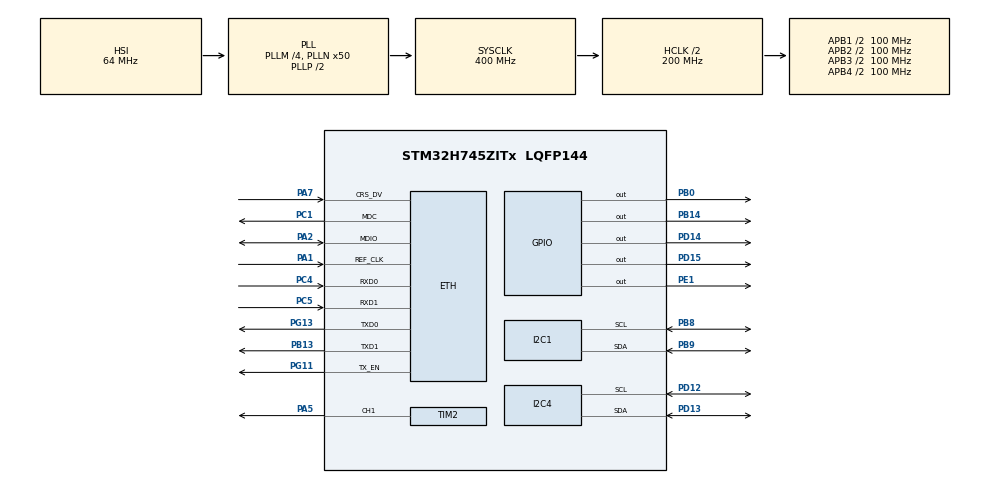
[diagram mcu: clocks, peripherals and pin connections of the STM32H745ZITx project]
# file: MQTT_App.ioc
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CORTEX_M7.AccessPermission_S-Cortex_Memory_Protection_Unit_Region1_Settings_S=MPU_REGION_FULL_ACCESS
CORTEX_M7.AccessPermission_S-Cortex_Memory_Protection_Unit_Region2_Settings_S=MPU_REGION_FULL_ACCESS
CORTEX_M7.BaseAddress_S-Cortex_Memory_Protection_Unit_Region1_Settings_S=0x30020000
CORTEX_M7.BaseAddress_S-Cortex_Memory_Protection_Unit_Region2_Settings_S=0x30040000
CORTEX_M7.CPU_DCache=Enabled
CORTEX_M7.CPU_ICache=Enabled
CORTEX_M7.DisableExec_S-Cortex_Memory_Protection_Unit_Region1_Settings_S=MPU_INSTRUCTION_ACCESS_DISABLE
CORTEX_M7.DisableExec_S-Cortex_Memory_Protection_Unit_Region2_Settings_S=MPU_INSTRUCTION_ACCESS_DISABLE
CORTEX_M7.Enable_S-Cortex_Memory_Protection_Unit_Region1_Settings_S=MPU_REGION_ENABLE
CORTEX_M7.Enable_S-Cortex_Memory_Protection_Unit_Region2_Settings_S=MPU_REGION_ENABLE
CORTEX_M7.IsBufferable_S-Cortex_Memory_Protection_Unit_Region2_Settings_S=MPU_ACCESS_BUFFERABLE
CORTEX_M7.IsShareable_S-Cortex_Memory_Protection_Unit_Region2_Settings_S=MPU_ACCESS_SHAREABLE
CORTEX_M7.Size_S-Cortex_Memory_Protection_Unit_Region1_Settings_S=MPU_REGION_SIZE_128KB
CORTEX_M7.Size_S-Cortex_Memory_Protection_Unit_Region2_Settings_S=MPU_REGION_SIZE_512B
CORTEX_M7.TypeExtField_S-Cortex_Memory_Protection_Unit_Region1_Settings_S=MPU_TEX_LEVEL1
CORTEX_M7.default_mode_Activation=1
CortexM4.IPs=FATFS_M4\:I,FREERTOS_M4\:I,IWDG2\:I,RCC,WWDG2\:I,DMA,BDMA,MDMA,NVIC2\:I,USART3,DEBUG,PDM2PCM_M4\:I,PWR,RESMGR_UTILITY,SYS_M4\:I,USB_DEVICE_M4\:I,USB_HOST_M4\:I,CORTEX_M4\:I,GPIO,OPENAMP_M4\:I,VREFBUF,NUCLEO-H745ZI-Q\:I
CortexM7.IPs=FATFS_M7\:I,FREERTOS_M7\:I,IWDG1\:I,RCC\:I,WWDG1\:I,DMA\:I,BDMA\:I,MDMA\:I,NVIC1\:I,SYS\:I,USART3\:I,USB_OTG_FS\:I,ETH\:I,CORTEX_M7\:I,DEBUG\:I,PDM2PCM_M7\:I,PWR\:I,RESMGR_UTILITY\:I,USB_DEVICE_M7\:I,USB_HOST_M7\:I,GPIO\:I,OPENAMP_M7\:I,VREFBUF\:I,MEMORYMAP\:I,LWIP\:I,I2C1\:I,I2C4\:I,TIM2\:I
CortexM7.Pins=PB0,PB14,PD14,PD15,PE1
ETH.MediaInterface=HAL_ETH_RMII_MODE
ETH.RxBufferAddress=0x30040200
ETH.RxDescAddress=0x30040000
ETH.TxDescAddress=0x30040100
I2C1.Timing=0x10C0ECFF
I2C4.Timing=0x10C0ECFF
LWIP.BSP.number=1
LWIP.GATEWAY_ADDRESS=192.168.001.001
LWIP.IP_ADDRESS=192.168.001.010
LWIP.LWIP_DHCP=0
LWIP.LWIP_RAM_HEAP_POINTER=0x30020000
LWIP.MEMP_NUM_TCP_SEG=17
LWIP.MEM_SIZE=10240
LWIP.NETMASK_ADDRESS=255.255.255.000
LWIP.PBUF_POOL_BUFSIZE=1524
LWIP.TCP_MSS=1460
LWIP.TCP_SND_BUF=5840
LWIP.TCP_WND=5840
LWIP.Version=v2.1.2_Cube
LWIP0.BSP.STBoard=false
LWIP0.BSP.api=BSP_COMPONENT_DRIVER
LWIP0.BSP.component=LAN8742
LWIP0.BSP.instance=LAN8742
LWIP0.BSP.name=Driver_PHY
LWIP0.BSP.semaphore=S_LAN8742
LWIP0.BSP.solution=LAN8742
Mcu.Family=STM32H7
Mcu.Name=STM32H745ZITx
Mcu.Package=LQFP144
NVIC1.PriorityGroup=NVIC_PRIORITYGROUP_4
NVIC2.PriorityGroup=NVIC_PRIORITYGROUP_4
PA1.GPIO_Speed=GPIO_SPEED_FREQ_VERY_HIGH
PA1.Mode=RMII
PA1.PinAttribute=CortexM7
PA1.Signal=ETH_REF_CLK
PA2.GPIO_Speed=GPIO_SPEED_FREQ_VERY_HIGH
PA2.Mode=RMII
PA2.PinAttribute=CortexM7
PA2.Signal=ETH_MDIO
PA5.PinAttribute=CortexM7
PA5.Signal=S_TIM2_CH1_ETR
PA7.GPIO_Speed=GPIO_SPEED_FREQ_VERY_HIGH
PA7.Mode=RMII
PA7.PinAttribute=CortexM7
PA7.Signal=ETH_CRS_DV
PB0.PinAttribute=CortexM7
PB0.Signal=GPIO_Output
PB13.GPIO_Speed=GPIO_SPEED_FREQ_VERY_HIGH
PB13.Mode=RMII
PB13.PinAttribute=CortexM7
PB13.Signal=ETH_TXD1
PB14.PinAttribute=CortexM7
PB14.PinState=GPIO_PIN_RESET
PB14.Signal=GPIO_Output
PB8.Mode=I2C
PB8.PinAttribute=CortexM7
PB8.Signal=I2C1_SCL
PB9.Mode=I2C
PB9.PinAttribute=CortexM7
PB9.Signal=I2C1_SDA
PC1.GPIO_Speed=GPIO_SPEED_FREQ_VERY_HIGH
PC1.Mode=RMII
PC1.PinAttribute=CortexM7
PC1.Signal=ETH_MDC
PC4.GPIO_Speed=GPIO_SPEED_FREQ_VERY_HIGH
PC4.Mode=RMII
PC4.PinAttribute=CortexM7
PC4.Signal=ETH_RXD0
PC5.GPIO_Speed=GPIO_SPEED_FREQ_VERY_HIGH
PC5.Mode=RMII
PC5.PinAttribute=CortexM7
PC5.Signal=ETH_RXD1
PD12.Mode=I2C
PD12.PinAttribute=CortexM7
PD12.Signal=I2C4_SCL
PD13.Mode=I2C
PD13.PinAttribute=CortexM7
PD13.Signal=I2C4_SDA
PD14.PinAttribute=CortexM7
PD14.PinState=GPIO_PIN_SET
PD14.Signal=GPIO_Output
PD15.PinAttribute=CortexM7
PD15.Signal=GPIO_Output
PE1.PinAttribute=CortexM7
PE1.Signal=GPIO_Output
PG11.GPIO_Speed=GPIO_SPEED_FREQ_VERY_HIGH
PG11.Mode=RMII
PG11.PinAttribute=CortexM7
PG11.Signal=ETH_TX_EN
PG13.GPIO_Speed=GPIO_SPEED_FREQ_VERY_HIGH
PG13.Mode=RMII
PG13.PinAttribute=CortexM7
PG13.Signal=ETH_TXD0
PH0-OSC_IN\ (PH0).Mode=HSE-External-Clock-Source
PH0-OSC_IN\ (PH0).PinAttribute=Free
PH0-OSC_IN\ (PH0).Signal=RCC_OSC_IN
ProjectManager.HeapSize=M4-0x200,M7-0x200
ProjectManager.StackSize=M4-0x400,M7-0x400
ProjectManager.TargetToolchain=STM32CubeIDE
RCC.ADCFreq_Value=129000000
RCC.APB1Freq_Value=100000000
RCC.APB2Freq_Value=100000000
RCC.APB3Freq_Value=100000000
RCC.APB4Freq_Value=100000000
RCC.CortexFreq_Value=400000000
RCC.D1PPRE=RCC_APB3_DIV2
RCC.D2PPRE1=RCC_APB1_DIV2
RCC.D2PPRE2=RCC_APB2_DIV2
RCC.D3PPRE=RCC_APB4_DIV2
RCC.DIVM1=4
RCC.DIVM3=22
RCC.DIVN1=50
RCC.DIVN3=169
RCC.DIVQ3=4
RCC.HCLKFreq_Value=200000000
RCC.HPRE=RCC_HCLK_DIV2
RCC.HSE_VALUE=8000000
RCC.PLL2FRACN=0
RCC.PLL3FRACN=0
RCC.PLLFRACN=0
RCC.SYSCLKFreq_VALUE=400000000
RCC.SYSCLKSource=RCC_SYSCLKSOURCE_PLLCLK
RCC.SupplySource=PWR_DIRECT_SMPS_SUPPLY
RCC.USBCLockSelection=RCC_USBCLKSOURCE_PLL3
RCC.USBFreq_Value=122909090.9090909
SH.S_TIM2_CH1_ETR.0=TIM2_CH1,PWM Generation1 CH1
TIM2.Channel-PWM\ Generation1\ CH1=TIM_CHANNEL_1
TIM2.Period=999
TIM2.Prescaler=199
VP_LWIP_VS_Enabled.Mode=Enabled
VP_MEMORYMAP_VS_MEMORYMAP.Mode=CurAppReg
VP_SYS_M4_VS_Systick.Mode=SysTick
board=NUCLEO-H745ZI-Q

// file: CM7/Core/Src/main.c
/* USER CODE BEGIN Header */
/**
  ******************************************************************************
  * @file           : main.c
  * @brief          : Main program body
  ******************************************************************************
  * @attention
  *
  * Copyright (c) 2024 STMicroelectronics.
  * All rights reserved.
  *
  * This software is licensed under terms that can be found in the LICENSE file
  * in the root directory of this software component.
  * If no LICENSE file comes with this software, it is provided AS-IS.
  *
  ******************************************************************************
  */
/* USER CODE END Header */
#include "main.h"
#include "lwip.h"

/* USER CODE BEGIN Includes */
#include "lwip/apps/lwiperf.h"
#include "mqtt.h"
#include "stdbool.h"
#include "string.h"
#include "bmp180.h"
#include "mpu6050.h"
/* USER CODE END Includes */

/* USER CODE BEGIN PD */

#ifndef HSEM_ID_0
#define HSEM_ID_0 (0U) /* HW semaphore 0*/
#endif

/* USER CODE END PD */

I2C_HandleTypeDef hi2c1;
I2C_HandleTypeDef hi2c4;

TIM_HandleTypeDef htim2;

void SystemClock_Config(void);
static void MPU_Config(void);
static void MX_GPIO_Init(void);
static void MX_I2C1_Init(void);
static void MX_I2C4_Init(void);
static void MX_TIM2_Init(void);

/* USER CODE BEGIN 0 */
uint64_t time_passed;
bool mpu6050_task = false;
bool bmp180_task  = false;
bool lwip_task    = false;
bool subscriptions_task = false;
void HAL_SYSTICK_Callback(void)
{
	time_passed++;

	if(lwip_task % 10 == 0)
	{
		lwip_task = true;
	}

	if(subscriptions_task % 500 == 0)
	{
		subscriptions_task = true;
	}

	if(time_passed % 750 == 0)
	{
		mpu6050_task = true;
	}

	if(time_passed % 1000 == 0)
	{
		bmp180_task = true;
	}
}

uint8_t number_of_topics = 4;
char topics[4][15] = {"RED_LED","GREEN_LED","YELLOW_LED","MOTOR_SPEED"};
uint8_t topic_index = 0;

char  buffer_bmp180[20];
char buffer_mpu6050[50];

typedef enum {
	NO_CONNECTION,
	CONNECTION_ESTABLISHED
}MQTT_Connection_Status;

typedef enum
{
	NONE_STATE,
	MAKE_CONNECTION,
	MAKE_SUBSCRTIPTIONS,
	RED_LED_MESSAGE_ARRIVED,
	GREEN_LED_MESSAGE_ARRIVED,
	YELLOW_LED_MESSAGE_ARRIVED,
	MOTOR_SPEED_MESSAGE_ARRIVED
}States;

typedef enum
{
	NONE_TOPIC,
	RED_LED_ARRIVED,
	GREEN_LED_ARRIVED,
	YELLOW_LED_ARRIVED,
	MOTOR_SPEED_ARRIVED
}
Topic_Arrival_t;

Topic_Arrival_t topic_arrival;
States state;
MQTT_Connection_Status connection_status;

char incoming_message[50];

struct mqtt_connect_client_info_t ci;
mqtt_client_t *client;
uint16_t number_of_message_sent;
ip_addr_t broker_address;

BMP180_Data bmp180;
MPU6050_Data mpu6050;

uint8_t  qos    = 1;
uint8_t  retain = 0;

void mqtt_sub_request_cb(void *arg, err_t result)
{
	number_of_topics--;
	topic_index++;
	if(number_of_topics > 0)
	{
		state = MAKE_SUBSCRTIPTIONS;
	}
}

void mqtt_incoming_publish_cb(void *arg, const char *topic, u32_t tot_len)
{
		if(strcmp(topic,"RED_LED") == 0)
		{
			topic_arrival = RED_LED_ARRIVED;
		}
		else if(strcmp(topic,"GREEN_LED") == 0)
		{
			topic_arrival = GREEN_LED_ARRIVED;
		}
		else if(strcmp(topic,"YELLOW_LED") == 0)
		{
			topic_arrival = YELLOW_LED_ARRIVED;
		}
		else  // MOTOR_SPEED
		{
			topic_arrival = MOTOR_SPEED_ARRIVED;
		}
}

void mqtt_incoming_data_cb(void *arg, const u8_t *data, u16_t len, u8_t flags)
{
  if(flags & MQTT_DATA_FLAG_LAST)
  {
	  	switch(topic_arrival)
	  	{
	  	case NONE_TOPIC:
	  		break;
	  	case RED_LED_ARRIVED:
	  		topic_arrival = NONE_TOPIC;
	  		state = RED_LED_MESSAGE_ARRIVED;
	  		memcpy(incoming_message,data,len);
	  		break;
	  	case GREEN_LED_ARRIVED:
	  		topic_arrival = NONE_TOPIC;
	  		state = GREEN_LED_MESSAGE_ARRIVED;
	  		memcpy(incoming_message,data,len);
	  		break;
	  	case YELLOW_LED_ARRIVED:
	  		topic_arrival = NONE_TOPIC;
	  		state = YELLOW_LED_MESSAGE_ARRIVED;
	  		memcpy(incoming_message,data,len);
	  		break;
	  	case MOTOR_SPEED_ARRIVED:
	  		topic_arrival = NONE_TOPIC;
	  		state = MOTOR_SPEED_MESSAGE_ARRIVED;
	  		memcpy(incoming_message,data,len);
	  		break;
	  	}
  }
}

/* Called when publish is complete either with sucess or failure */
static void mqtt_pub_request_cb(void *arg, err_t result)
{
  if(result == ERR_OK) {
    number_of_message_sent++;
  }
}

static void mqtt_connection_cb(mqtt_client_t *client, void *arg, mqtt_connection_status_t status)
{

  if(status == MQTT_CONNECT_ACCEPTED)
  {

    connection_status = CONNECTION_ESTABLISHED;
    state = MAKE_SUBSCRTIPTIONS;

    mqtt_set_inpub_callback(client, mqtt_incoming_publish_cb, mqtt_incoming_data_cb, arg);

  }

  else
  {
    connection_status = NO_CONNECTION;
  }

}

/* USER CODE END 0 */

int main(void)
{

/* USER CODE BEGIN Boot_Mode_Sequence_0 */

/* USER CODE END Boot_Mode_Sequence_0 */

  /* MPU Configuration--------------------------------------------------------*/
  MPU_Config();

  /* Enable the CPU Cache */

  /* Enable I-Cache---------------------------------------------------------*/
  SCB_EnableICache();

  /* Enable D-Cache---------------------------------------------------------*/
  SCB_EnableDCache();

/* USER CODE BEGIN Boot_Mode_Sequence_1 */

/* USER CODE END Boot_Mode_Sequence_1 */
  /* MCU Configuration--------------------------------------------------------*/

  /* Reset of all peripherals, Initializes the Flash interface and the Systick. */
  HAL_Init();

  /* Configure the system clock */
  SystemClock_Config();
/* USER CODE BEGIN Boot_Mode_Sequence_2 */
/* When system initialization is finished, Cortex-M7 will release Cortex-M4 by means of
HSEM notification */
/*HW semaphore Clock enable*/
__HAL_RCC_HSEM_CLK_ENABLE();
/*Take HSEM */
HAL_HSEM_FastTake(HSEM_ID_0);
/*Release HSEM in order to notify the CPU2(CM4)*/
HAL_HSEM_Release(HSEM_ID_0,0);
/* USER CODE END Boot_Mode_Sequence_2 */

  /* Initialize all configured peripherals */
  MX_GPIO_Init();
  MX_LWIP_Init();
  MX_I2C1_Init();
  MX_I2C4_Init();
  MX_TIM2_Init();
  /* USER CODE BEGIN 2 */

  BMP180_GetCoefficients();
  MPU6050_Init();

  HAL_TIM_PWM_Start(&htim2, TIM_CHANNEL_1);
  client = mqtt_client_new();

  ci.client_id   = "STM32H7_CLIENT";
  ci.client_user = "ktulgar";
  ci.client_pass = "123456789";
  ci.keep_alive  = 60;

  IP4_ADDR(&broker_address, 54,241,201,31);

  state = MAKE_CONNECTION;

  /* USER CODE END 2 */

  /* Infinite loop */
  while (1)
  {

    /* USER CODE BEGIN 3 */

	  if(lwip_task)
	  {
		  MX_LWIP_Process();
		  lwip_task = false;
	  }

     if(subscriptions_task)
     {

    	 if(state == MAKE_CONNECTION)
    	 {
    		 mqtt_client_connect(client,&broker_address, 1883, mqtt_connection_cb, 0, &ci);
    		 state = NONE_STATE;
    	 }
    	 else if(state == MAKE_SUBSCRTIPTIONS)
    	  {
    	    if(number_of_topics > 0)
    	    {
    	    	 state = NONE_STATE;
    	    	 mqtt_subscribe(client, topics[topic_index], 1, mqtt_sub_request_cb, NULL);
    	    }

    	  }

    	 else if(state == RED_LED_MESSAGE_ARRIVED)
    	     {
    	    	 state = NONE_STATE;
    	    	 if(strcmp(incoming_message,"ON") == 0)
    	    	 {
    	    		 HAL_GPIO_WritePin(GPIOB, GPIO_PIN_14, GPIO_PIN_SET);
    	    	 }
    	    	 else if(strcmp(incoming_message,"OFF") == 0)
    	    	 {
    	    		 HAL_GPIO_WritePin(GPIOB, GPIO_PIN_14, GPIO_PIN_RESET);
    	    	 }
    	    	 memset(incoming_message,0,strlen(incoming_message));
    	     }

    	     else if(state == GREEN_LED_MESSAGE_ARRIVED)
    	     {

    	    	 state = NONE_STATE;
    	    	 if(strcmp(incoming_message,"ON") == 0)
    	    	 {
    	    		 HAL_GPIO_WritePin(GPIOB, GPIO_PIN_0, GPIO_PIN_SET);
    	    	 }
    	    	 else if(strcmp(incoming_message,"OFF") == 0)
    	    	 {
    	    		 HAL_GPIO_WritePin(GPIOB, GPIO_PIN_0, GPIO_PIN_RESET);
    	    	 }
    	    	 memset(incoming_message,0,strlen(incoming_message));

    	     }

    	     else if(state == YELLOW_LED_MESSAGE_ARRIVED)
    	     {

    	    	 state = NONE_STATE;
    	    	 if(strcmp(incoming_message,"ON") == 0)
    	    	 {
    	    		 HAL_GPIO_WritePin(GPIOE, GPIO_PIN_1, GPIO_PIN_SET);
    	    	 }
    	    	 else if(strcmp(incoming_message,"OFF") == 0)
    	    	 {
    	    		 HAL_GPIO_WritePin(GPIOE, GPIO_PIN_1, GPIO_PIN_RESET);
    	    	 }
    	    	 memset(incoming_message,0,strlen(incoming_message));
    	     }

    	     else if(state == MOTOR_SPEED_MESSAGE_ARRIVED)
    	     {
    	    	 uint16_t speed = atoi(incoming_message);
    	    	 state = NONE_STATE;
    	    	 __HAL_TIM_SET_COMPARE(&htim2,TIM_CHANNEL_1,speed);
    	    	 memset(incoming_message,0,strlen(incoming_message));
    	     }

    	 subscriptions_task = false;

     }

     if(mpu6050_task)
    {
    	 if(connection_status == CONNECTION_ESTABLISHED)
    	 {
         	 MPU6050_ReadData(&mpu6050);
         	 sprintf(buffer_mpu6050,"%.2f  %.2f  %.2f  %.2f  %.2f  %.2f",mpu6050.Acc_X,mpu6050.Acc_Y,mpu6050.Acc_Z,mpu6050.Gyro_X,mpu6050.Gyro_Y,mpu6050.Gyro_Z);
         	 mqtt_publish(client, "MPU6050", buffer_mpu6050, strlen(buffer_mpu6050), qos, retain, mqtt_pub_request_cb, NULL);
    	 }
    	 mpu6050_task = false;

     }

     if(bmp180_task)
      {
    	 if(connection_status == CONNECTION_ESTABLISHED)
    	 {
         	 BMP180_ReadData(&bmp180);
         	 sprintf(buffer_bmp180,"%.2f  %ld  %.2f",bmp180.temperature,bmp180.pressure,bmp180.altitude);
         	 mqtt_publish(client, "BMP180", buffer_bmp180, strlen(buffer_bmp180), qos, retain, mqtt_pub_request_cb, NULL);
    	 }
    	 bmp180_task = false;
     }

  }
  /* USER CODE END 3 */
}

void SystemClock_Config(void)
{
  RCC_OscInitTypeDef RCC_OscInitStruct = {0};
  RCC_ClkInitTypeDef RCC_ClkInitStruct = {0};

  /** Supply configuration update enable
  */
  HAL_PWREx_ConfigSupply(PWR_DIRECT_SMPS_SUPPLY);

  /** Configure the main internal regulator output voltage
  */
  __HAL_PWR_VOLTAGESCALING_CONFIG(PWR_REGULATOR_VOLTAGE_SCALE1);

  while(!__HAL_PWR_GET_FLAG(PWR_FLAG_VOSRDY)) {}

  /** Initializes the RCC Oscillators according to the specified parameters
  * in the RCC_OscInitTypeDef structure.
  */
  RCC_OscInitStruct.OscillatorType = RCC_OSCILLATORTYPE_HSI;
  RCC_OscInitStruct.HSIState = RCC_HSI_DIV1;
  RCC_OscInitStruct.HSICalibrationValue = RCC_HSICALIBRATION_DEFAULT;
  RCC_OscInitStruct.PLL.PLLState = RCC_PLL_ON;
  RCC_OscInitStruct.PLL.PLLSource = RCC_PLLSOURCE_HSI;
  RCC_OscInitStruct.PLL.PLLM = 4;
  RCC_OscInitStruct.PLL.PLLN = 50;
  RCC_OscInitStruct.PLL.PLLP = 2;
  RCC_OscInitStruct.PLL.PLLQ = 2;
  RCC_OscInitStruct.PLL.PLLR = 2;
  RCC_OscInitStruct.PLL.PLLRGE = RCC_PLL1VCIRANGE_3;
  RCC_OscInitStruct.PLL.PLLVCOSEL = RCC_PLL1VCOWIDE;
  RCC_OscInitStruct.PLL.PLLFRACN = 0;
  if (HAL_RCC_OscConfig(&RCC_OscInitStruct) != HAL_OK)
  {
    Error_Handler();
  }

  /** Initializes the CPU, AHB and APB buses clocks
  */
  RCC_ClkInitStruct.ClockType = RCC_CLOCKTYPE_HCLK|RCC_CLOCKTYPE_SYSCLK
                              |RCC_CLOCKTYPE_PCLK1|RCC_CLOCKTYPE_PCLK2
                              |RCC_CLOCKTYPE_D3PCLK1|RCC_CLOCKTYPE_D1PCLK1;
  RCC_ClkInitStruct.SYSCLKSource = RCC_SYSCLKSOURCE_PLLCLK;
  RCC_ClkInitStruct.SYSCLKDivider = RCC_SYSCLK_DIV1;
  RCC_ClkInitStruct.AHBCLKDivider = RCC_HCLK_DIV2;
  RCC_ClkInitStruct.APB3CLKDivider = RCC_APB3_DIV2;
  RCC_ClkInitStruct.APB1CLKDivider = RCC_APB1_DIV2;
  RCC_ClkInitStruct.APB2CLKDivider = RCC_APB2_DIV2;
  RCC_ClkInitStruct.APB4CLKDivider = RCC_APB4_DIV2;

  if (HAL_RCC_ClockConfig(&RCC_ClkInitStruct, FLASH_LATENCY_2) != HAL_OK)
  {
    Error_Handler();
  }
}

static void MX_I2C1_Init(void)
{

  hi2c1.Instance = I2C1;
  hi2c1.Init.Timing = 0x10C0ECFF;
  hi2c1.Init.OwnAddress1 = 0;
  hi2c1.Init.AddressingMode = I2C_ADDRESSINGMODE_7BIT;
  hi2c1.Init.DualAddressMode = I2C_DUALADDRESS_DISABLE;
  hi2c1.Init.OwnAddress2 = 0;
  hi2c1.Init.OwnAddress2Masks = I2C_OA2_NOMASK;
  hi2c1.Init.GeneralCallMode = I2C_GENERALCALL_DISABLE;
  hi2c1.Init.NoStretchMode = I2C_NOSTRETCH_DISABLE;
  if (HAL_I2C_Init(&hi2c1) != HAL_OK)
  {
    Error_Handler();
  }

  /** Configure Analogue filter
  */
  if (HAL_I2CEx_ConfigAnalogFilter(&hi2c1, I2C_ANALOGFILTER_ENABLE) != HAL_OK)
  {
    Error_Handler();
  }

  /** Configure Digital filter
  */
  if (HAL_I2CEx_ConfigDigitalFilter(&hi2c1, 0) != HAL_OK)
  {
    Error_Handler();
  }

}

static void MX_I2C4_Init(void)
{

  hi2c4.Instance = I2C4;
  hi2c4.Init.Timing = 0x10C0ECFF;
  hi2c4.Init.OwnAddress1 = 0;
  hi2c4.Init.AddressingMode = I2C_ADDRESSINGMODE_7BIT;
  hi2c4.Init.DualAddressMode = I2C_DUALADDRESS_DISABLE;
  hi2c4.Init.OwnAddress2 = 0;
  hi2c4.Init.OwnAddress2Masks = I2C_OA2_NOMASK;
  hi2c4.Init.GeneralCallMode = I2C_GENERALCALL_DISABLE;
  hi2c4.Init.NoStretchMode = I2C_NOSTRETCH_DISABLE;
  if (HAL_I2C_Init(&hi2c4) != HAL_OK)
  {
    Error_Handler();
  }

  /** Configure Analogue filter
  */
  if (HAL_I2CEx_ConfigAnalogFilter(&hi2c4, I2C_ANALOGFILTER_ENABLE) != HAL_OK)
  {
    Error_Handler();
  }

  /** Configure Digital filter
  */
  if (HAL_I2CEx_ConfigDigitalFilter(&hi2c4, 0) != HAL_OK)
  {
    Error_Handler();
  }

}

static void MX_TIM2_Init(void)
{

  TIM_MasterConfigTypeDef sMasterConfig = {0};
  TIM_OC_InitTypeDef sConfigOC = {0};

  htim2.Instance = TIM2;
  htim2.Init.Prescaler = 199;
  htim2.Init.CounterMode = TIM_COUNTERMODE_UP;
  htim2.Init.Period = 999;
  htim2.Init.ClockDivision = TIM_CLOCKDIVISION_DIV1;
  htim2.Init.AutoReloadPreload = TIM_AUTORELOAD_PRELOAD_DISABLE;
  if (HAL_TIM_PWM_Init(&htim2) != HAL_OK)
  {
    Error_Handler();
  }
  sMasterConfig.MasterOutputTrigger = TIM_TRGO_RESET;
  sMasterConfig.MasterSlaveMode = TIM_MASTERSLAVEMODE_DISABLE;
  if (HAL_TIMEx_MasterConfigSynchronization(&htim2, &sMasterConfig) != HAL_OK)
  {
    Error_Handler();
  }
  sConfigOC.OCMode = TIM_OCMODE_PWM1;
  sConfigOC.Pulse = 0;
  sConfigOC.OCPolarity = TIM_OCPOLARITY_HIGH;
  sConfigOC.OCFastMode = TIM_OCFAST_DISABLE;
  if (HAL_TIM_PWM_ConfigChannel(&htim2, &sConfigOC, TIM_CHANNEL_1) != HAL_OK)
  {
    Error_Handler();
  }
  HAL_TIM_MspPostInit(&htim2);

}

static void MX_GPIO_Init(void)
{
  GPIO_InitTypeDef GPIO_InitStruct = {0};

  /* GPIO Ports Clock Enable */
  __HAL_RCC_GPIOC_CLK_ENABLE();
  __HAL_RCC_GPIOA_CLK_ENABLE();
  __HAL_RCC_GPIOB_CLK_ENABLE();
  __HAL_RCC_GPIOD_CLK_ENABLE();
  __HAL_RCC_GPIOG_CLK_ENABLE();
  __HAL_RCC_GPIOE_CLK_ENABLE();

  /*Configure GPIO pin Output Level */
  HAL_GPIO_WritePin(GPIOB, GPIO_PIN_0|GPIO_PIN_14, GPIO_PIN_RESET);

  /*Configure GPIO pin Output Level */
  HAL_GPIO_WritePin(GPIOD, GPIO_PIN_14, GPIO_PIN_SET);

  /*Configure GPIO pin Output Level */
  HAL_GPIO_WritePin(GPIOD, GPIO_PIN_15, GPIO_PIN_RESET);

  /*Configure GPIO pin Output Level */
  HAL_GPIO_WritePin(GPIOE, GPIO_PIN_1, GPIO_PIN_RESET);

  /*Configure GPIO pins : PB0 PB14 */
  GPIO_InitStruct.Pin = GPIO_PIN_0|GPIO_PIN_14;
  GPIO_InitStruct.Mode = GPIO_MODE_OUTPUT_PP;
  GPIO_InitStruct.Pull = GPIO_NOPULL;
  GPIO_InitStruct.Speed = GPIO_SPEED_FREQ_LOW;
  HAL_GPIO_Init(GPIOB, &GPIO_InitStruct);

  /*Configure GPIO pins : PD14 PD15 */
  GPIO_InitStruct.Pin = GPIO_PIN_14|GPIO_PIN_15;
  GPIO_InitStruct.Mode = GPIO_MODE_OUTPUT_PP;
  GPIO_InitStruct.Pull = GPIO_NOPULL;
  GPIO_InitStruct.Speed = GPIO_SPEED_FREQ_LOW;
  HAL_GPIO_Init(GPIOD, &GPIO_InitStruct);

  /*Configure GPIO pin : PE1 */
  GPIO_InitStruct.Pin = GPIO_PIN_1;
  GPIO_InitStruct.Mode = GPIO_MODE_OUTPUT_PP;
  GPIO_InitStruct.Pull = GPIO_NOPULL;
  GPIO_InitStruct.Speed = GPIO_SPEED_FREQ_LOW;
  HAL_GPIO_Init(GPIOE, &GPIO_InitStruct);

}

 /* MPU Configuration */

void MPU_Config(void)
{
  MPU_Region_InitTypeDef MPU_InitStruct = {0};

  /* Disables the MPU */
  HAL_MPU_Disable();

  /** Initializes and configures the Region and the memory to be protected
  */
  MPU_InitStruct.Enable = MPU_REGION_ENABLE;
  MPU_InitStruct.Number = MPU_REGION_NUMBER0;
  MPU_InitStruct.BaseAddress = 0x0;
  MPU_InitStruct.Size = MPU_REGION_SIZE_4GB;
  MPU_InitStruct.SubRegionDisable = 0x87;
  MPU_InitStruct.TypeExtField = MPU_TEX_LEVEL0;
  MPU_InitStruct.AccessPermission = MPU_REGION_NO_ACCESS;
  MPU_InitStruct.DisableExec = MPU_INSTRUCTION_ACCESS_DISABLE;
  MPU_InitStruct.IsShareable = MPU_ACCESS_SHAREABLE;
  MPU_InitStruct.IsCacheable = MPU_ACCESS_NOT_CACHEABLE;
  MPU_InitStruct.IsBufferable = MPU_ACCESS_NOT_BUFFERABLE;

  HAL_MPU_ConfigRegion(&MPU_InitStruct);

  /** Initializes and configures the Region and the memory to be protected
  */
  MPU_InitStruct.Number = MPU_REGION_NUMBER1;
  MPU_InitStruct.BaseAddress = 0x30020000;
  MPU_InitStruct.Size = MPU_REGION_SIZE_128KB;
  MPU_InitStruct.SubRegionDisable = 0x0;
  MPU_InitStruct.TypeExtField = MPU_TEX_LEVEL1;
  MPU_InitStruct.AccessPermission = MPU_REGION_FULL_ACCESS;
  MPU_InitStruct.IsShareable = MPU_ACCESS_NOT_SHAREABLE;

  HAL_MPU_ConfigRegion(&MPU_InitStruct);

  /** Initializes and configures the Region and the memory to be protected
  */
  MPU_InitStruct.Number = MPU_REGION_NUMBER2;
  MPU_InitStruct.BaseAddress = 0x30040000;
  MPU_InitStruct.Size = MPU_REGION_SIZE_512B;
  MPU_InitStruct.TypeExtField = MPU_TEX_LEVEL0;
  MPU_InitStruct.IsShareable = MPU_ACCESS_SHAREABLE;
  MPU_InitStruct.IsBufferable = MPU_ACCESS_BUFFERABLE;

  HAL_MPU_ConfigRegion(&MPU_InitStruct);
  /* Enables the MPU */
  HAL_MPU_Enable(MPU_PRIVILEGED_DEFAULT);

}

void Error_Handler(void)
{
  __disable_irq();
  while (1)
  {
  }
}
